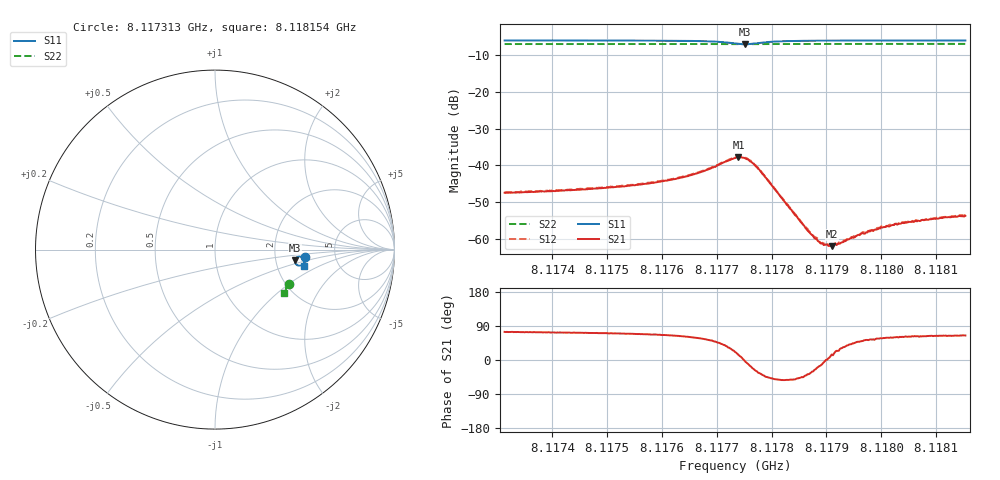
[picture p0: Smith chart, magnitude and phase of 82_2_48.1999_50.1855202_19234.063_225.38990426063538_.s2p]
#  HZ  S  RI  R  50.00
! Rohde & Schwarz Vector Network Analyzer
! Rohde-Schwarz,ZNB20-2Port,1311601062101988,3.16
! Created: UTC 3/20/2024, 11:39:44 AM
! freq[Hz]  re:S11  im:S11  re:S21  im:S21  re:S12  im:S12  re:S22  im:S22
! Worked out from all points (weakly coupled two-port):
!   401 points, 8.117313 GHz to 8.118154 GHz, reference 50 ohm
!   highest |S21| = -37.80 dB at 8.117739 GHz (marker M1); lowest = -62.0 dB at 8.11791 GHz (marker M2)
!   lowest |S11| = -6.9 dB at 8.117752 GHz (marker M3), VSWR 2.63, Z = 128 - j19.2 ohm
!   |S11| at or under -10 dB: nowhere
!   |S22| runs from -6.9 to -6.9 dB; largest |S21 - S12| = 0.00046
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8.1173127e9  0.504 -0.0417  0.00115 0.00408  0.00124 0.00414  0.4098 -0.1899
8.1174536e9  0.502 -0.0543  0.00147 0.00444  0.00155 0.00453  0.4057 -0.199
8.1175313e9  0.5003 -0.0623  0.0018 0.00485  0.0019 0.00498  0.4033 -0.2043
8.1175944e9  0.4977 -0.0701  0.00239 0.00548  0.00245 0.00557  0.4014 -0.2083
8.117628e9  0.4952 -0.0751  0.00296 0.00597  0.00306 0.00602  0.4004 -0.2105
8.1176617e9  0.4905 -0.0814  0.00401 0.00662  0.00413 0.00671  0.3991 -0.2127
8.1177331e9  0.4529 -0.0828  0.0118 0.00462  0.012 0.0045  0.3953 -0.2166
8.1177394e9  0.4482 -0.0767  0.0125 0.00303  0.0128 0.00304  0.395 -0.2166
8.117752e9  0.4454 -0.0599  0.0124 -0.000947  0.0127 -0.000945  0.3947 -0.2166
8.1177626e9  0.4518 -0.047  0.0107 -0.00343  0.0109 -0.00384  0.3948 -0.2168
8.1177773e9  0.4667 -0.0391  0.00728 -0.00499  0.00721 -0.00502  0.3951 -0.2173
8.1178529e9  0.4962 -0.0574  0.00117 -0.00123  0.00121 -0.00124  0.394 -0.2229
8.117874e9  0.4975 -0.0619  0.000973 -0.00057  0.000965 -0.000581  0.3933 -0.2245
8.1178908e9  0.498 -0.0647  0.000838 -0.000191  0.000856 -0.000164  0.3927 -0.2257
8.1178992e9  0.4982 -0.066  0.000835 2.99e-06  0.000814 -1.74e-05  0.3924 -0.2263
8.1179097e9  0.4984 -0.0677  0.000767 0.000201  0.000834 0.000183  0.3921 -0.2268
8.117916e9  0.4984 -0.0686  0.000778 0.000309  0.000828 0.000282  0.392 -0.2274
8.1179622e9  0.4984 -0.0747  0.000762 0.000886  0.000749 0.00087  0.3905 -0.2304
8.1180148e9  0.4981 -0.0804  0.000771 0.00125  0.000799 0.00133  0.3887 -0.2336
8.1180484e9  0.4978 -0.0838  0.000803 0.00147  0.000827 0.0015  0.3875 -0.2358
8.1180779e9  0.4974 -0.0865  0.000821 0.00159  0.000812 0.00161  0.3866 -0.2375
8.1181535e9  0.4963 -0.0931  0.00088 0.00186  0.000911 0.00187  0.384 -0.2423
